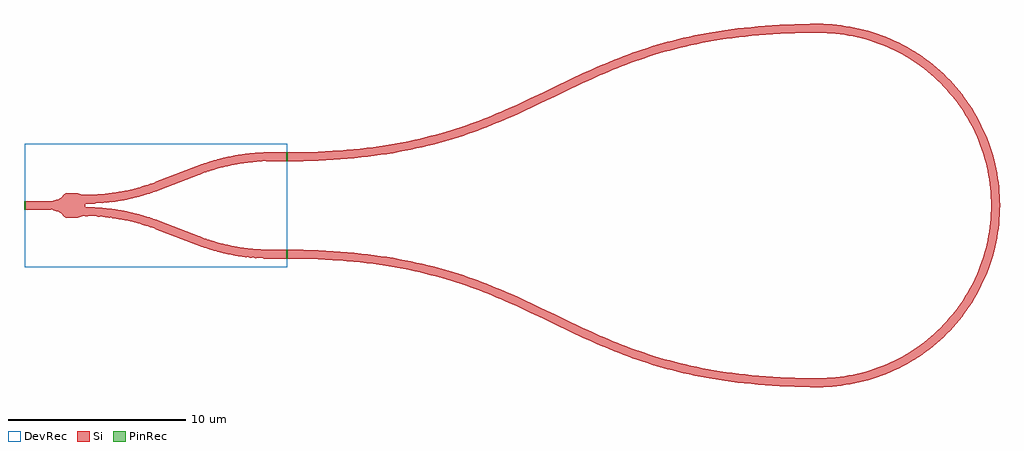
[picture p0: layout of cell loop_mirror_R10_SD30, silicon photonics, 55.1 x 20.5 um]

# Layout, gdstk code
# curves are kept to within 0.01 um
import gdstk
lib = gdstk.Library(unit=1e-6, precision=1e-09)
def R(c, l, rs):  # rectangles x0, y0, x1, y1
    for r in rs: c.add(gdstk.rectangle(r[:2], r[2:], *l))
def P(c, l, *ps):  # polygons
    for p in ps: c.add(gdstk.Polygon(p, *l))
Si = (1, 0)
PinRec = (1, 10)
DevRec = (68, 0)

ebeam_y_1550 = lib.new_cell('ebeam_y_1550')
R(ebeam_y_1550, Si, [(6.5,-3,7.4,-2.5), (-7.4,-0.25,-6,0.25), (6.5,2.5,7.4,3)])
P(ebeam_y_1550, Si, [(6.458,-3),(6.237,-2.997),(6.237,-2.497),(6.5,-2.5),(6.5,-3)],
  [(5.033,-2.908),(4.288,-2.79),(3.59,-2.634),(2.922,-2.442),(2.265,-2.21),(2.445,-1.744),(3.075,-1.966),(3.731,-2.154),(4.372,-2.297),(5.033,-2.404)],
  [(6.233,-2.997),(5.619,-2.967),(5.033,-2.908),(5.033,-2.404),(5.625,-2.466),(6.237,-2.497)],
  [(2.265,-2.21),(0.055,-1.356),(0.235,-0.89),(2.445,-1.744)],
  [(-0.762,-1.076),(-1.532,-0.874),(-2.334,-0.724),(-3.178,-0.63),(-4,-0.6),(-4,-0.1),(-3.16,-0.13),(-2.381,-0.212),(-1.565,-0.355),(-0.762,-0.555)],
  [(0.055,-1.356),(-0.762,-1.076),(-0.762,-0.555),(-0.263,-0.71),(0.235,-0.89)],
  [(6.237,2.497),(6.237,2.997),(6.5,3),(6.5,2.5)],
  [(2.445,1.744),(2.267,2.211),(2.922,2.442),(3.59,2.634),(4.288,2.79),(5.033,2.908),(5.033,2.404),(4.372,2.297),(3.731,2.154),(3.075,1.966)],
  [(5.033,2.404),(5.033,2.908),(5.619,2.967),(6.237,2.997),(6.237,2.497),(5.625,2.466)],
  [(0.235,0.89),(0.055,1.356),(2.265,2.21),(2.445,1.744)],
  [(-4,0.1),(-4,0.6),(-3.178,0.63),(-2.334,0.724),(-1.532,0.874),(-0.762,1.076),(-0.762,0.555),(-1.565,0.355),(-2.381,0.212),(-3.16,0.13)],
  [(-0.762,0.555),(-0.762,1.076),(0.055,1.356),(0.235,0.89),(-0.263,0.71)],
  [(-5.122,-0.662),(-5.344,-0.44),(-5.442,-0.374),(-5.808,-0.255),(-6,-0.25),(-6,0.25),(-5.817,0.253),(-5.442,0.374),(-5.344,0.44),(-5.122,0.662)],
  [(-4.957,-0.703),(-5.047,-0.692),(-5.122,-0.662),(-5.122,0.662),(-4.978,0.702),(-4.538,0.703),(-4.424,0.685),(-4.167,0.6),(-4,0.6),(-4,-0.6),(-4.167,-0.6),(-4.509,-0.701)])
R(ebeam_y_1550, DevRec, [(-7.4,-3.5,7.4,3.5)])
ebeam_y_1550.add(gdstk.FlexPath([(-7.35,0),(-7.45,0)], 0.5, ends="flush", simple_path=True, layer=1, datatype=10))  # PinRec
ebeam_y_1550.add(gdstk.FlexPath([(7.35,2.75),(7.45,2.75)], 0.5, ends="flush", simple_path=True, layer=1, datatype=10))  # PinRec
ebeam_y_1550.add(gdstk.FlexPath([(7.35,-2.75),(7.45,-2.75)], 0.5, ends="flush", simple_path=True, layer=1, datatype=10))  # PinRec
ebeam_y_1550.add(gdstk.Label('Component=ebeam_y_1550', (-6,1.5), layer=68, texttype=0))
ebeam_y_1550.add(gdstk.Label('Lumerical_INTERCONNECT_library=Design kits/ebeam', (-6.86,-2.19), layer=68, texttype=0))
ebeam_y_1550.add(gdstk.Label('opt2', (7.4,2.75), layer=1, texttype=10))
ebeam_y_1550.add(gdstk.Label('opt3', (7.4,-2.75), layer=1, texttype=10))
ebeam_y_1550.add(gdstk.Label('opt1', (-7.4,0), layer=1, texttype=10))
ebeam_y_1550.add(gdstk.Label('Ref: Y Zhang, Opt. Express, 21/1, 2013', (-7.5,-1), layer=10, texttype=0))

ebeam_y_1550_p = lib.new_cell('ebeam_y_1550_p')
ebeam_y_1550_p.add(gdstk.Reference(ebeam_y_1550, (0,0)))

sbend_d30_d7p25 = lib.new_cell('sbend_D30_D7p25')
P(sbend_d30_d7p25, Si, [(0,-0.25),(0,0.25),(1.329,0.27),(2.578,0.328),(3.752,0.421),(4.858,0.547),(5.899,0.704),(7.198,0.956),(8.111,1.174),(9.258,1.499),(10.072,1.765),(10.852,2.048),(12.332,2.654),(13.741,3.298),(16.749,4.732),(17.712,5.16),(18.459,5.47),(19.232,5.767),(20.038,6.05),(20.88,6.315),(21.764,6.56),(22.695,6.782),(23.677,6.979),(24.717,7.149),(25.444,7.245),(26.589,7.362),(27.804,7.445),(29.095,7.491),(30,7.5),(30,7),(28.671,6.98),(27.422,6.922),(26.248,6.829),(25.142,6.703),(24.101,6.546),(22.802,6.294),(21.889,6.076),(20.742,5.751),(19.928,5.485),(19.148,5.202),(17.668,4.596),(16.259,3.952),(13.251,2.518),(12.288,2.09),(11.541,1.78),(10.768,1.483),(9.962,1.2),(9.12,0.935),(8.236,0.69),(7.305,0.468),(6.323,0.271),(5.283,0.101),(4.556,0.005),(3.411,-0.112),(2.196,-0.195),(0.905,-0.241)])

bend_circular_r10_a180__ = lib.new_cell('bend_circular_R10_A180__6b4b0c81')
P(bend_circular_r10_a180__, Si, [(0,-0.25),(0,0.25),(0.74,0.278),(1.232,0.328),(1.72,0.403),(2.204,0.502),(2.682,0.626),(3.154,0.774),(3.845,1.04),(4.294,1.246),(4.946,1.598),(5.365,1.859),(5.771,2.141),(6.161,2.444),(6.536,2.765),(7.067,3.283),(7.398,3.649),(7.71,4.032),(8.141,4.635),(8.402,5.054),(8.642,5.486),(8.86,5.929),(9.054,6.383),(9.226,6.846),(9.374,7.318),(9.498,7.796),(9.597,8.28),(9.672,8.768),(9.722,9.26),(9.75,10),(9.722,10.74),(9.672,11.232),(9.597,11.72),(9.498,12.204),(9.374,12.682),(9.226,13.154),(9.054,13.617),(8.86,14.071),(8.642,14.514),(8.402,14.946),(8.141,15.365),(7.71,15.968),(7.398,16.351),(7.067,16.717),(6.536,17.235),(6.161,17.556),(5.771,17.859),(5.365,18.141),(4.946,18.402),(4.294,18.754),(3.845,18.96),(3.154,19.226),(2.682,19.374),(2.204,19.498),(1.72,19.597),(1.232,19.672),(0.74,19.722),(0,19.75),(0,20.25),(0.519,20.237),(1.037,20.197),(1.552,20.132),(2.063,20.04),(2.82,19.855),(3.315,19.699),(3.802,19.519),(4.279,19.314),(4.746,19.085),(5.2,18.833),(5.641,18.558),(6.067,18.262),(6.477,17.944),(6.871,17.606),(7.248,17.248),(7.606,16.871),(7.944,16.477),(8.262,16.067),(8.558,15.641),(8.833,15.2),(9.085,14.746),(9.314,14.279),(9.519,13.802),(9.699,13.315),(9.855,12.82),(10.04,12.063),(10.132,11.552),(10.197,11.037),(10.237,10.519),(10.25,10),(10.237,9.481),(10.197,8.963),(10.132,8.448),(10.04,7.937),(9.855,7.18),(9.699,6.685),(9.519,6.198),(9.314,5.721),(9.085,5.254),(8.833,4.8),(8.558,4.359),(8.262,3.933),(7.944,3.523),(7.606,3.129),(7.248,2.752),(6.871,2.394),(6.477,2.056),(6.067,1.738),(5.641,1.442),(5.2,1.167),(4.746,0.915),(4.279,0.686),(3.802,0.481),(3.315,0.301),(2.82,0.145),(2.063,-0.04),(1.552,-0.132),(1.037,-0.197),(0.519,-0.237)])

loop_mirror_r10_sd30 = lib.new_cell('loop_mirror_R10_SD30')
loop_mirror_r10_sd30.add(gdstk.Reference(ebeam_y_1550_p, (0,0)))
loop_mirror_r10_sd30.add(gdstk.Reference(sbend_d30_d7p25, (7.4,2.75)))
loop_mirror_r10_sd30.add(gdstk.Reference(sbend_d30_d7p25, (7.4,-2.75), x_reflection=True))
loop_mirror_r10_sd30.add(gdstk.Reference(bend_circular_r10_a180__, (37.4,10), x_reflection=True))

lib.write_gds('loop_mirror_R10_SD30.gds')
